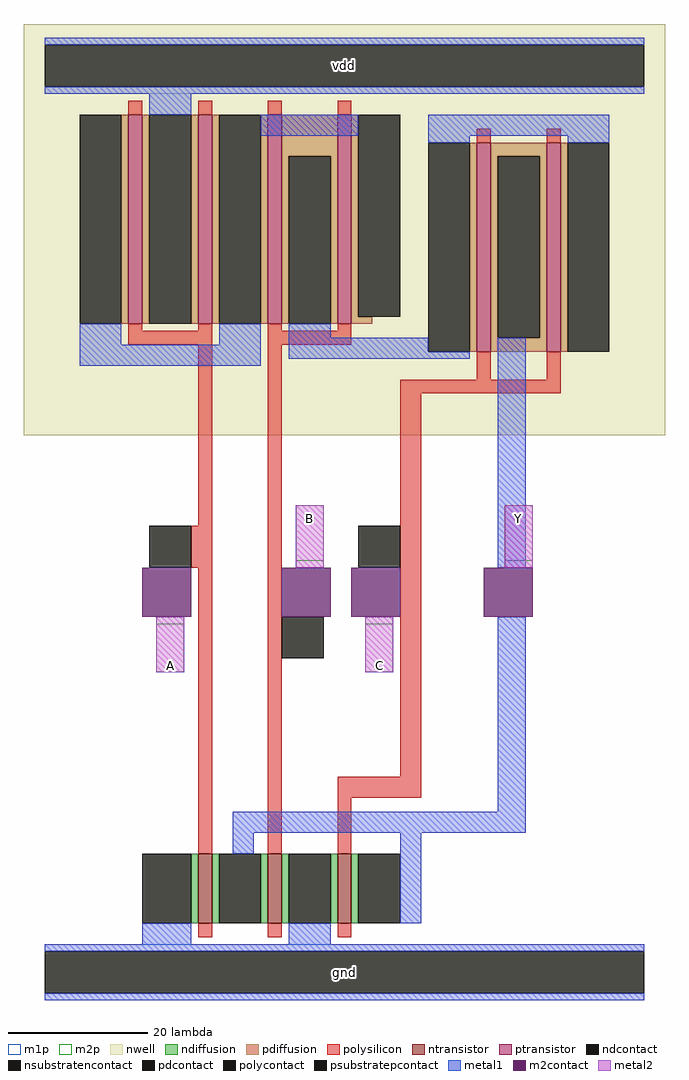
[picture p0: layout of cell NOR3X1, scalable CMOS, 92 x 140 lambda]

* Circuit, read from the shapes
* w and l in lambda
.subckt NOR3X1 A B C Y vdd gnd
M1 Y A gnd gnd nfet w=10 l=2
M2 gnd B Y gnd nfet w=10 l=2
M3 Y C gnd gnd nfet w=10 l=2
M4 vdd A n1 vdd pfet w=30 l=2 m=2
M5 n2 B n1 vdd pfet w=30 l=2 m=2
M6 Y C n2 vdd pfet w=30 l=2 m=2
.ends

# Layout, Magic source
magic
tech scmos
<< nwell >>
rect -6 77 86 136
<< ntransistor >>
rect 19 7 21 17
rect 29 7 31 17
rect 39 7 41 17
<< ptransistor >>
rect 9 93 11 123
rect 19 93 21 123
rect 29 93 31 123
rect 39 93 41 123
rect 59 89 61 119
rect 69 89 71 119
<< ndiffusion >>
rect 18 7 19 17
rect 21 7 22 17
rect 28 7 29 17
rect 31 7 32 17
rect 38 7 39 17
rect 41 7 42 17
<< pdiffusion >>
rect 8 93 9 123
rect 11 93 12 123
rect 18 93 19 123
rect 21 93 22 123
rect 28 93 29 123
rect 31 117 39 123
rect 31 93 32 117
rect 38 93 39 117
rect 41 94 42 123
rect 41 93 44 94
rect 58 89 59 119
rect 61 117 69 119
rect 61 91 62 117
rect 68 91 69 117
rect 61 89 69 91
rect 71 89 72 119
<< ndcontact >>
rect 11 7 18 17
rect 22 7 28 17
rect 32 7 38 17
rect 42 7 48 17
<< pdcontact >>
rect 2 93 8 123
rect 12 93 18 123
rect 22 93 28 123
rect 32 93 38 117
rect 42 94 48 123
rect 52 89 58 119
rect 62 91 68 117
rect 72 89 78 119
<< psubstratepcontact >>
rect -3 -3 83 3
<< nsubstratencontact >>
rect -3 127 83 133
<< polysilicon >>
rect 9 123 11 125
rect 19 123 21 125
rect 29 123 31 125
rect 39 123 41 125
rect 59 119 61 121
rect 69 119 71 121
rect 9 92 11 93
rect 19 92 21 93
rect 9 90 21 92
rect 19 64 21 90
rect 18 58 21 64
rect 19 17 21 58
rect 29 92 31 93
rect 39 92 41 93
rect 29 90 41 92
rect 29 17 31 90
rect 59 85 61 89
rect 69 85 71 89
rect 48 83 71 85
rect 48 28 51 83
rect 39 25 51 28
rect 39 17 41 25
rect 19 5 21 7
rect 29 5 31 7
rect 39 5 41 7
<< polycontact >>
rect 12 58 18 64
rect 42 58 48 64
rect 31 45 37 51
<< metal1 >>
rect -3 133 83 134
rect -3 126 83 127
rect 12 123 18 126
rect 28 120 42 123
rect 2 90 8 93
rect 22 90 28 93
rect 2 87 28 90
rect 52 120 78 123
rect 52 119 58 120
rect 32 91 38 93
rect 32 89 52 91
rect 72 119 78 120
rect 32 88 58 89
rect 62 58 66 91
rect 62 23 66 51
rect 24 20 66 23
rect 24 17 27 20
rect 48 7 51 20
rect 11 4 18 7
rect 32 4 38 7
rect -3 3 83 4
rect -3 -4 83 -3
<< m2contact >>
rect 11 51 18 58
rect 31 51 38 58
rect 41 51 48 58
rect 60 51 67 58
<< metal2 >>
rect 33 58 37 67
rect 63 58 67 67
rect 13 43 17 51
rect 43 43 47 51
<< m1p >>
rect -3 126 83 134
rect -3 -4 83 4
<< m2p >>
rect 33 59 37 67
rect 63 59 67 67
rect 13 43 17 50
rect 43 43 47 50
<< labels >>
rlabel metal2 15 44 15 44 1 A
port 1 n signal input
rlabel metal2 35 65 35 65 1 B
port 2 n signal input
rlabel metal2 45 44 45 44 7 C
port 3 n signal input
rlabel metal2 65 65 65 65 1 Y
port 4 n signal output
rlabel metal1 -3 126 83 134 0 vdd
port 5 nsew power bidirectional abutment
rlabel metal1 -3 -4 83 4 0 gnd
port 6 nsew ground bidirectional abutment
<< properties >>
string FIXED_BBOX 0 0 80 130
string LEFclass CORE
string LEFsite core
string LEFsymmetry X Y
<< end >>
